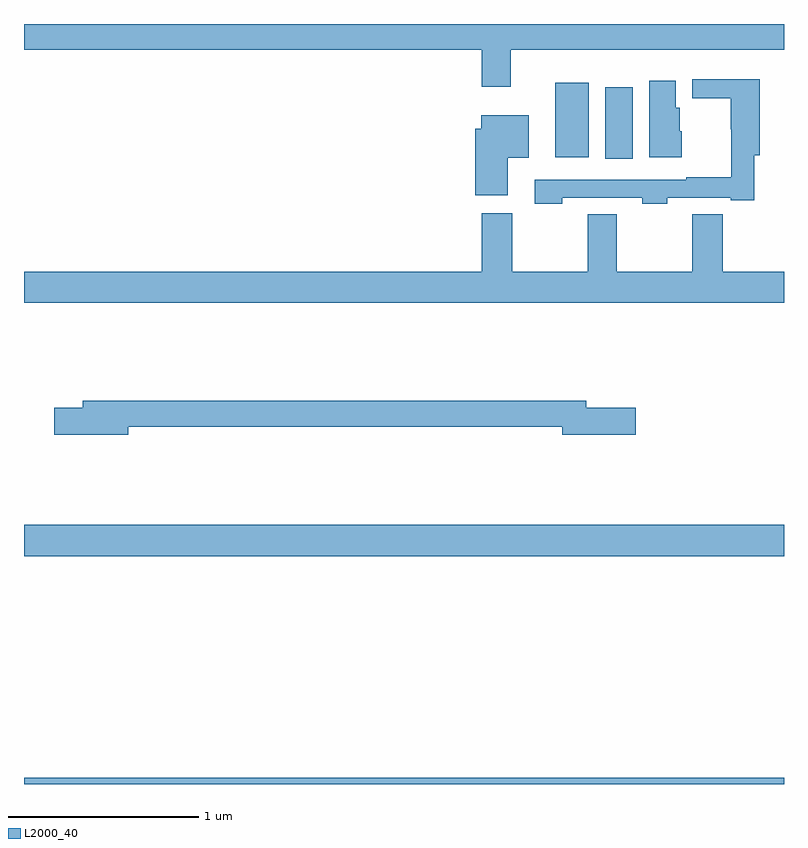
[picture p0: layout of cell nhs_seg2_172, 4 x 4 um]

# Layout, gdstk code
import gdstk
lib = gdstk.Library(unit=1e-6, precision=1e-09)
def R(c, l, rs):  # rectangles x0, y0, x1, y1
    for r in rs: c.add(gdstk.rectangle(r[:2], r[2:], *l))
def P(c, l, *ps):  # polygons
    for p in ps: c.add(gdstk.Polygon(p, *l))
L2000_40 = (2000, 40)

nhs_seg2_172 = lib.new_cell('nhs_seg2_172')
R(nhs_seg2_172, L2000_40, [(119,615.8,123,615.832), (119,617,123,617.164), (122.06,619.092,122.203,619.468), (121.796,619.1,121.972,619.492)])
P(nhs_seg2_172, L2000_40, [(121.561,619.664),(123,619.664),(123,619.8),(119,619.8),(119,619.664),(121.409,619.664),(121.409,619.47),(121.561,619.47)],
  [(121.833,618.885),(122.253,618.885),(122.253,618.853),(122.385,618.853),(122.385,618.885),(122.72,618.885),(122.72,618.873),(122.843,618.873),(122.843,619.109),(122.873,619.109),(122.873,619.51),(122.517,619.51),(122.517,619.408),(122.72,619.408),(122.72,619.245),(122.722,619.245),(122.722,618.994),(122.485,618.994),(122.485,618.981),(121.689,618.981),(121.689,618.853),(121.833,618.853)],
  [(122.461,619.236),(122.452,619.236),(122.452,619.359),(122.431,619.359),(122.431,619.501),(122.291,619.501),(122.291,619.1),(122.461,619.1)],
  [(121.546,619.097),(121.657,619.097),(121.657,619.321),(121.406,619.321),(121.406,619.248),(121.376,619.248),(121.376,618.9),(121.546,618.9)],
  [(123,618.496),(122.678,618.496),(122.678,618.8),(122.518,618.8),(122.518,618.496),(122.12,618.496),(122.12,618.8),(121.966,618.8),(121.966,618.496),(121.569,618.496),(121.569,618.805),(121.409,618.805),(121.409,618.496),(119,618.496),(119,618.332),(123,618.332)],
  [(119.548,617.68),(121.832,617.68),(121.832,617.638),(122.221,617.638),(122.221,617.78),(121.96,617.78),(121.96,617.816),(119.309,617.816),(119.309,617.78),(119.16,617.78),(119.16,617.638),(119.548,617.638)])

lib.write_gds('nhs_seg2_172.gds')
